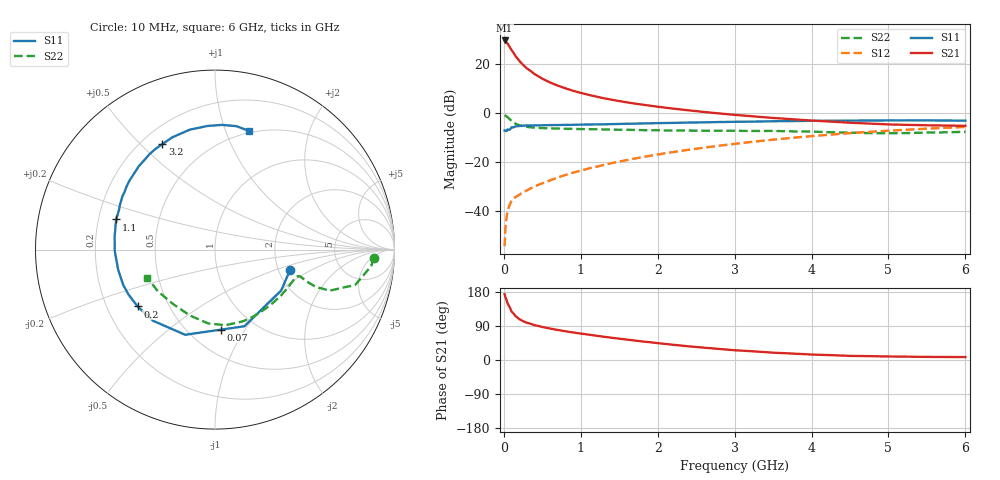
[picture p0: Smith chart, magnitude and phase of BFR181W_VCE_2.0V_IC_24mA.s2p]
! (c) 2017  Infineon Technologies AG, Munich
! Infineon Technologies  Discrete & RF Semiconductors
! BFR181W
! VCE =  2.0 V,  IC =  24 mA
! Common Emitter S-Parameters:  Jan 2017
# GHz  S  MA  R  50
!  f  S11  S21  S12  S22
! GHz  MAG  ANG  MAG  ANG  MAG  ANG  MAG  ANG
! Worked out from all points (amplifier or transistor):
!   77 points, 10 MHz to 6 GHz, reference 50 ohm
!   highest |S21| = 29.4 dB at 10 MHz (marker M1)
!   |S21| within 3 dB of that: start of sweep to 82.11 MHz
!   unconditionally stable (mu >= 1): start of sweep to 15 MHz; 256.6 MHz to 3.345 GHz; 4.328 GHz to end of sweep
!   at 130 MHz: K = 0.67, MSG = 29.6 dB, |S12| = -35.0 dB
!   at 2.2 GHz: K = 1.17, MAG = 6.3 dB, |S12| = -16.0 dB
!   at 6 GHz: K = 1.09, MAG = -1.6 dB, |S12| = -5.8 dB
!   S11 on the Smith chart (normalised r, x): 10 MHz: 2.32, -0.64; 70 MHz: 0.70, -0.79; 200 MHz: 0.33, -0.29; 1.1 GHz: 0.28, +0.14; 3.2 GHz: 0.28, +0.58; 6 GHz: 0.48, +1.21
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0.01  0.4337 -15.1  29.68 173.8  0.0019 75.8  0.8877 -3.0
0.02  0.4335 -31.9  28.91 166.3  0.0044 77.6  0.8748 -6.0
0.05  0.4574 -69.0  25.49 148.5  0.0102 67.4  0.806 -14.1
0.07  0.4472 -85.9  22.58 141.7  0.0125 62.5  0.7544 -16.1
0.1  0.5028 -109.3  19.03 127.9  0.016 57.8  0.6791 -19.7
0.15  0.5257 -131.0  14.47 116.1  0.019 54.3  0.5998 -20.3
0.2  0.5349 -143.7  11.45 108.0  0.0211 54.5  0.5553 -19.5
0.25  0.5432 -152.6  9.433 102.4  0.024 54.7  0.5304 -18.8
0.3  0.548 -159.1  7.994 98.2  0.0261 57.0  0.5127 -18.0
0.4  0.551 -168.1  6.12 91.9  0.0314 62.0  0.4947 -17.5
0.5  0.5529 -174.5  4.928 87.1  0.0363 65.1  0.4853 -17.8
0.6  0.5589 -179.5  4.14 83.0  0.0416 67.5  0.4792 -18.4
0.7  0.5597 176.4  3.564 79.4  0.0477 70.9  0.4746 -19.4
0.9  0.5662 169.1  2.797 72.7  0.06 73.5  0.4673 -22.1
1.1  0.5754 163.0  2.315 67.0  0.0727 75.5  0.4617 -25.3
1.5  0.5895 152.6  1.725 56.3  0.1006 77.0  0.4496 -32.8
2.1  0.6154 138.7  1.266 42.4  0.149 76.1  0.4349 -46.6
3.1  0.6537 118.6  0.878 24.6  0.2412 69.1  0.4258 -72.3
3.2  0.6565 116.6  0.853 23.4  0.2513 68.1  0.4245 -74.8
4.1  0.6832 100.1  0.677 13.8  0.3427 58.6  0.4065 -98.4
5.1  0.6957 85.4  0.571 9.1  0.4377 46.1  0.3825 -131.1
6  0.6881 74.2  0.541 7.7  0.5121 34.7  0.4081 -157.5
